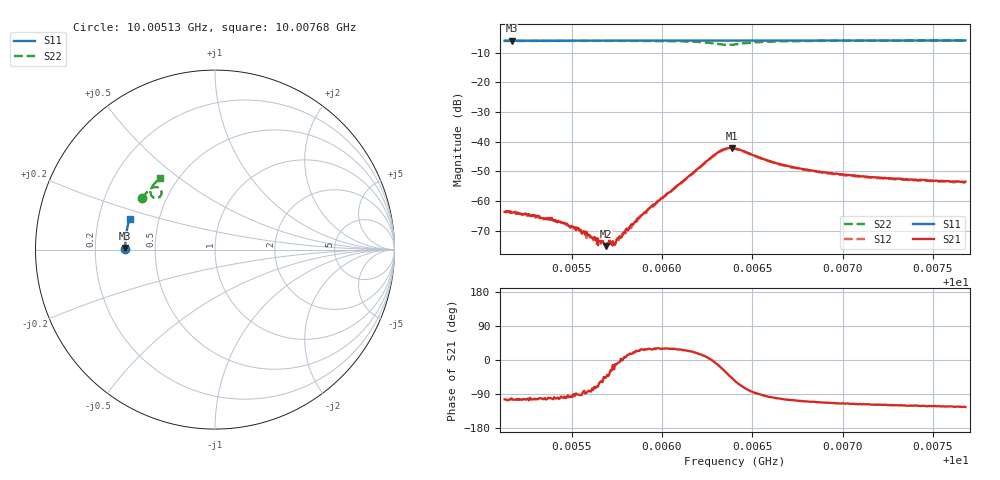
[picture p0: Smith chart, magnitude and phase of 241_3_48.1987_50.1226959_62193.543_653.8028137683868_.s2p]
#  HZ  S  RI  R  50.00
! Rohde & Schwarz Vector Network Analyzer
! Rohde-Schwarz,ZNB20-2Port,1311601062101988,3.16
! Created: UTC 3/20/2024, 11:46:52 AM
! freq[Hz]  re:S11  im:S11  re:S21  im:S21  re:S12  im:S12  re:S22  im:S22
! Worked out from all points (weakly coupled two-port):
!   401 points, 10.00513 GHz to 10.00768 GHz, reference 50 ohm
!   highest |S21| = -42.17 dB at 10.00638 GHz (marker M1); lowest = -75.2 dB at 10.00569 GHz (marker M2)
!   lowest |S11| = -6.0 dB at 10.00517 GHz (marker M3), VSWR 3.00, Z = 16.7 + j0.383 ohm
!   |S11| at or under -10 dB: nowhere
!   |S22| runs from -7.4 to -6.0 dB; largest |S21 - S12| = 0.00048
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1.0005129e10  -0.4999 0.00599  -0.000158 -0.000637  -0.00014 -0.000624  -0.4043 0.2854
1.0005167e10  -0.4998 0.00862  -0.000124 -0.00062  -0.000138 -0.000619  -0.403 0.2878
1.0005377e10  -0.5 0.0222  -9.87e-05 -0.000508  -9.99e-05 -0.000476  -0.3948 0.3002
1.000546e10  -0.4998 0.0275  -4.85e-05 -0.00042  -2.22e-05 -0.000412  -0.391 0.3053
1.0005556e10  -0.4996 0.0338  -9.7e-06 -0.000279  2.89e-05 -0.000298  -0.3866 0.3111
1.0005594e10  -0.4995 0.0363  4.26e-05 -0.000265  1.27e-05 -0.000255  -0.3849 0.3136
1.0005633e10  -0.4996 0.0388  5.96e-05 -0.000205  8.84e-05 -0.000216  -0.3829 0.3158
1.0005664e10  -0.4994 0.0409  0.000112 -0.000165  0.000118 -0.000187  -0.3812 0.3177
1.000569e10  -0.4994 0.0424  0.000119 -0.000126  0.000123 -0.00012  -0.38 0.3194
1.0005715e10  -0.4992 0.0441  0.000174 -8.61e-05  0.000179 -7.51e-05  -0.3786 0.321
1.0005728e10  -0.4991 0.0449  0.000204 -4.67e-05  0.000166 -5.5e-05  -0.3778 0.3219
1.0005747e10  -0.4991 0.0462  0.000208 -4.4e-05  0.000206 -4.58e-05  -0.3767 0.3228
1.0005875e10  -0.4985 0.0545  0.000476 0.000212  0.000467 0.000218  -0.3686 0.3312
1.0005983e10  -0.4979 0.0614  0.000869 0.000523  0.000815 0.000526  -0.3597 0.3385
1.0006296e10  -0.4951 0.0815  0.00609 -0.000785  0.00597 -0.000478  -0.3004 0.3296
1.000634e10  -0.4946 0.0841  0.00664 -0.0032  0.00662 -0.00283  -0.2991 0.3074
1.0006385e10  -0.4942 0.0868  0.00532 -0.00569  0.0055 -0.00528  -0.315 0.2892
1.0006404e10  -0.4941 0.0879  0.00431 -0.00631  0.00458 -0.00591  -0.3247 0.2865
1.0006634e10  -0.4925 0.1025  -0.000808 -0.0042  -0.00055 -0.00421  -0.3589 0.3284
1.0006831e10  -0.4901 0.1152  -0.00112 -0.00305  -0.000972 -0.00302  -0.3505 0.3498
1.0007259e10  -0.4838 0.1421  -0.00118 -0.0021  -0.00103 -0.00209  -0.3287 0.3772
1.0007679e10  -0.4763 0.1682  -0.00118 -0.00174  -0.00104 -0.00178  -0.3071 0.398
